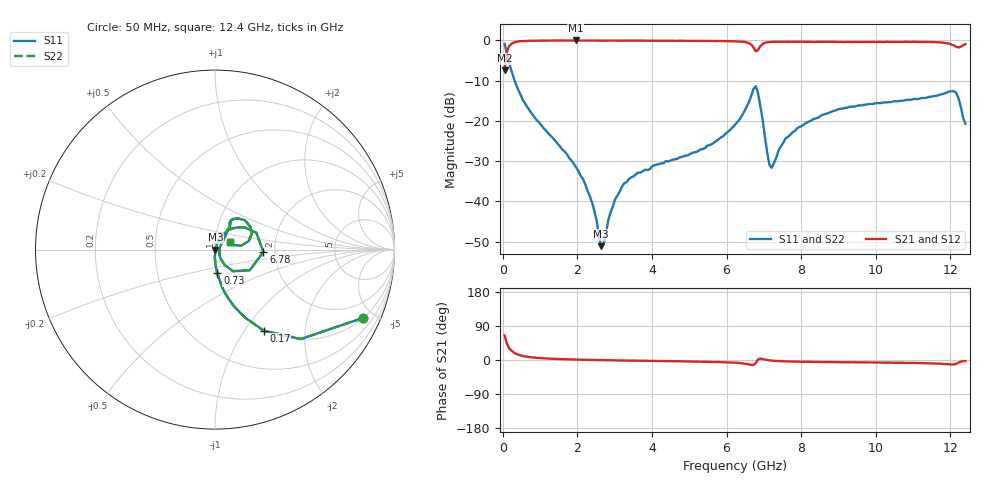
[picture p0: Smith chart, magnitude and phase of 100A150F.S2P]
!  American Technical Ceramics  Date:  3/13/98
!  One Norden Lane
!  Huntington Station,  NY.  11746-2102
!  Tel:  (516) 547-5700  Fax:  (516) 547-5748
!  Part Number  100A150F
!  Description: Porcelain, High Q, Low ESR
!  Application: Bypass, Coupling, Timing, Feedback
!  Tuning, Impedance Match, Blocking
# GHZ S DB R 50
! Freq  |S11|  S11 Ph  |S21|  S21 Ph  |S12|  S12 Ph  |S22|  S22 Ph
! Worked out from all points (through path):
!   201 points, 50 MHz to 12.4 GHz, reference 50 ohm
!   highest |S21| = 0.01 dB at 1.96 GHz (marker M1); lowest = -7.4 dB at 50 MHz (marker M2)
!   group delay of S21, straight-line fit = 4.17 ps
!   lowest |S11| = -51.2 dB at 2.64 GHz (marker M3), VSWR 1.01, Z = 50.3 - j0.0928 ohm
!   |S11| at or under -10 dB: 319.6 MHz to end of sweep
!   |S22| runs from -51.2 to -0.8 dB; largest |S21 - S12| = 0
!   S11 on the Smith chart (normalised r, x): 50 MHz: 0.99, -4.34; 170 MHz: 0.98, -1.23; 730 MHz: 0.99, -0.27; 6.78 GHz: 1.74, -0.05; 12.4 GHz: 1.17, +0.10
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0.05  -0.83 -24.8  -7.43 64.7  -7.43 64.7  -0.83 -24.8
0.17  -5.57 -59.0  -1.41 31.4  -1.41 31.4  -5.57 -59.0
0.36  -11.03 -74.8  -0.33 16.2  -0.33 16.2  -11.03 -74.8
0.73  -17.56 -84.0  -0.07 7.5  -0.07 7.5  -17.56 -84.0
1.96  -31.45 -90.7  0.01 1.1  0.01 1.1  -31.45 -90.7
2.15  -34.42 -89.4  -0.01 0.7  -0.01 0.7  -34.42 -89.4
2.4  -40.46 -80.2  -0.01 0.2  -0.01 0.2  -40.46 -80.2
2.64  -51.16 -19.5  -0.03 -0.2  -0.03 -0.2  -51.16 -19.5
3.2  -36.26 65.9  -0.04 -1.2  -0.04 -1.2  -36.26 65.9
4.19  -30.74 68.3  -0.05 -2.6  -0.05 -2.6  -30.74 68.3
5.42  -26.76 70.7  -0.10 -4.7  -0.10 -4.7  -26.76 70.7
6.23  -20.92 63.6  -0.21 -7.1  -0.21 -7.1  -20.92 63.6
6.66  -13.73 37.2  -1.02 -12.9  -1.02 -12.9  -13.73 37.2
6.78  -11.38 -2.9  -2.68 -8.4  -2.68 -8.4  -11.38 -2.9
6.9  -16.11 -50.3  -1.42 3.7  -1.42 3.7  -16.11 -50.3
7.15  -31.05 -26.7  -0.39 -1.0  -0.39 -1.0  -31.05 -26.7
7.21  -31.66 2.5  -0.33 -1.6  -0.33 -1.6  -31.66 2.5
7.58  -24.35 45.1  -0.32 -3.7  -0.32 -3.7  -24.35 45.1
8.32  -19.58 53.9  -0.34 -4.9  -0.34 -4.9  -19.58 53.9
10.36  -15.34 60.4  -0.35 -6.9  -0.35 -6.9  -15.34 60.4
12.09  -12.61 32.4  -1.23 -11.6  -1.23 -11.6  -12.61 32.4
12.4  -20.70 27.7  -0.89 -2.9  -0.89 -2.9  -20.70 27.7
